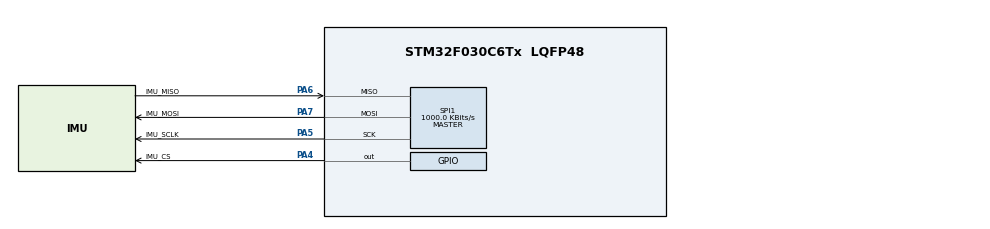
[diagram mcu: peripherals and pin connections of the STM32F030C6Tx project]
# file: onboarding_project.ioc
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Mcu.Family=STM32F0
Mcu.Name=STM32F030C6Tx
Mcu.Package=LQFP48
PA4.GPIO_Label=IMU_CS
PA4.PinState=GPIO_PIN_SET
PA4.Signal=GPIO_Output
PA5.GPIO_Label=IMU_SCLK
PA5.Mode=Full_Duplex_Master
PA5.Signal=SPI1_SCK
PA6.GPIO_Label=IMU_MISO
PA6.Mode=Full_Duplex_Master
PA6.Signal=SPI1_MISO
PA7.GPIO_Label=IMU_MOSI
PA7.Mode=Full_Duplex_Master
PA7.Signal=SPI1_MOSI
ProjectManager.HeapSize=0x200
ProjectManager.StackSize=0x400
ProjectManager.TargetToolchain=STM32CubeIDE
SPI1.BaudRatePrescaler=SPI_BAUDRATEPRESCALER_8
SPI1.CLKPhase=SPI_PHASE_2EDGE
SPI1.CLKPolarity=SPI_POLARITY_HIGH
SPI1.CalculateBaudRate=1000.0 KBits/s
SPI1.DataSize=SPI_DATASIZE_8BIT
SPI1.Direction=SPI_DIRECTION_2LINES
SPI1.Mode=SPI_MODE_MASTER
SPI1.VirtualType=VM_MASTER
board=custom

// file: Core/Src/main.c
/* USER CODE BEGIN Header */
/**
  ******************************************************************************
  * @file           : main.c
  * @brief          : Main program body
  ******************************************************************************
  * @attention
  *
  * Copyright (c) 2026 STMicroelectronics.
  * All rights reserved.
  *
  * This software is licensed under terms that can be found in the LICENSE file
  * in the root directory of this software component.
  * If no LICENSE file comes with this software, it is provided AS-IS.
  *
  ******************************************************************************
  */
/* USER CODE END Header */
#include "main.h"

/* USER CODE BEGIN PTD */

typedef struct {
	float accel_x;
	float accel_y;
	float accel_z;

	float gyro_x;
	float gyro_y;
	float gyro_z;
} IMU_Data;

/* USER CODE END PTD */

/* USER CODE BEGIN PD */

#define WHO_AM_I_REG 0x0F
#define WHO_AM_I_VAL 0x6B

//config register addresses
#define CTRL1_XL_REG 0x10
#define CTRL2_G_REG 0x11
#define CTRL3_C_REG 0x12

//sensor output registers addresses
#define OUTX_L_G_REG 0x22
//#define OUTX_L_A_REG 0x28

//config values
#define CTRL1_CONFIG 0x68
#define GYRO_CONFIG 0x64
#define CTRL3_CONFIG 0x44

#define SAMPLE_FREQ 200

/* USER CODE END PD */

SPI_HandleTypeDef hspi1;

/* USER CODE BEGIN PV */
volatile uint8_t who_am_i;
IMU_Data reading;
/* USER CODE END PV */

void SystemClock_Config(void);
static void MX_GPIO_Init(void);
static void MX_SPI1_Init(void);
/* USER CODE BEGIN PFP */

uint8_t IMU_ReadRegister(uint8_t reg);
void IMU_WriteRegister(uint8_t reg, uint8_t value);

void IMU_Init(void);
void IMU_ReadData(IMU_Data *reading);
void IMU_ReadRegisters(uint8_t reg, uint8_t *data, uint16_t length);

/* USER CODE END PFP */

/* USER CODE BEGIN 0 */

//read means set bit 7 to 1
uint8_t IMU_ReadRegister(uint8_t reg) {
    uint8_t tx[2]; //stores number between 0 to 255, int8_t stores -128 to 127
    uint8_t rx[2];

    // Set the read bit (bit 7)
    tx[0] = reg | 0x80; //convert each hexadecimal digit to 4 digit binary
    //we are storing a 8 bit numerical value

    tx[1] = 0x00;

    // Select IMU
    HAL_GPIO_WritePin(IMU_CS_GPIO_Port,
                      IMU_CS_Pin,
                      GPIO_PIN_RESET);

    // Send and receive 2 bytes
    HAL_SPI_TransmitReceive(&hspi1,
                            tx,
                            rx,
                            2,
                            HAL_MAX_DELAY); //tx[0] is the register to read, tx[1] is the value to write when used in write context
    //reading tx[0] to get the register value

    // Deselect IMU
    HAL_GPIO_WritePin(IMU_CS_GPIO_Port,
                      IMU_CS_Pin,
                      GPIO_PIN_SET);

    return rx[1];
}

//@param reg - register to write to
//@param value - value to write
void IMU_WriteRegister(uint8_t reg, uint8_t value) {
    uint8_t tx[2];

    // Clear bit 7 for a write
    tx[0] = reg & 0x7F;

    // Value we want to write
    tx[1] = value;

    // Select IMU
    HAL_GPIO_WritePin(IMU_CS_GPIO_Port,
                      IMU_CS_Pin,
                      GPIO_PIN_RESET); //reset = 0

    // Send register address + value
    HAL_SPI_Transmit(&hspi1,
                     tx,
                     2,
                     HAL_MAX_DELAY);

    // Deselect IMU
    HAL_GPIO_WritePin(IMU_CS_GPIO_Port,
                      IMU_CS_Pin,
                      GPIO_PIN_SET); //set = 1
}

void IMU_Init(void) {
	//enable BDU first
	IMU_WriteRegister(CTRL3_C_REG, CTRL3_CONFIG);
	IMU_WriteRegister(CTRL2_G_REG, GYRO_CONFIG);
	IMU_WriteRegister(CTRL1_XL_REG, CTRL1_CONFIG);
}

void IMU_ReadRegisters(uint8_t reg, uint8_t *data, uint16_t length) {
	uint8_t read_command = reg | 0x80;

	HAL_GPIO_WritePin (
		IMU_CS_GPIO_Port,
		IMU_CS_Pin,
		GPIO_PIN_RESET
	);

	HAL_SPI_Transmit(
		&hspi1,
		&read_command,
		1,
		HAL_MAX_DELAY
	);

	HAL_SPI_Receive (
		&hspi1,
		data,
		length,
		HAL_MAX_DELAY
	);

	HAL_GPIO_WritePin (
		IMU_CS_GPIO_Port,
		IMU_CS_Pin,
		GPIO_PIN_SET
	);
}

void IMU_ReadData(IMU_Data *reading) {
	uint8_t raw[12];
	IMU_ReadRegisters(OUTX_L_G_REG, raw, 12);

	int16_t gx = (int16_t)((uint16_t)raw[1] << 8 | raw[0]);
	int16_t gy = (int16_t)((uint16_t)raw[3] << 8 | raw[2]);
	int16_t gz = (int16_t)((uint16_t)raw[5] << 8 | raw[4]);

	int16_t ax = (int16_t)(((uint16_t)raw[7] << 8) | raw[6]);
	int16_t ay = (int16_t)(((uint16_t)raw[9] << 8) | raw[8]);
	int16_t az = (int16_t)(((uint16_t)raw[11] << 8) | raw[10]);

	//equivalent to (*reading).accel_x
	reading->accel_x = ax * 0.0011964f;
	reading->accel_y = ay * 0.0011964f;
	reading->accel_z = az * 0.0011964f;

	reading->gyro_x = gx * 0.0175f;
	reading->gyro_y = gy * 0.0175f;
	reading->gyro_z = gz * 0.0175f;
}

/* USER CODE END 0 */

int main(void)
{

  /* MCU Configuration--------------------------------------------------------*/

  /* Reset of all peripherals, Initializes the Flash interface and the Systick. */
  HAL_Init();

  /* Configure the system clock */
  SystemClock_Config();

  /* Initialize all configured peripherals */
  MX_GPIO_Init();
  MX_SPI1_Init();
  /* USER CODE BEGIN 2 */

  who_am_i = IMU_ReadRegister(WHO_AM_I_REG);
  //program must be suspended before i can step over

  /* USER CODE END 2 */

  /* Infinite loop */
  /* USER CODE BEGIN WHILE */
  IMU_Init();
  HAL_Delay(50);

  uint32_t curr_tick = HAL_GetTick();
  uint32_t last_check = HAL_GetTick();
  uint32_t sampled_hertz =0;
  uint32_t sample_count = 0;

  /* USER CODE END 3 */
  while (1) {

	  while ((int32_t)(HAL_GetTick() - curr_tick) < 0) {
		  //waiting
		  //behaves like HAL_Delay
	  }
	  //check to make sure it is actually 200HZ
	  IMU_ReadData(&reading);
	  sample_count++;
	  curr_tick += 1000 / SAMPLE_FREQ;

	  if(HAL_GetTick() - last_check >= 1000) {
		  //checking sampled_hertz each time for count per second
		  sampled_hertz = sample_count;
		  last_check += 1000;
		  sample_count = 0;
	  }

  }
}

void SystemClock_Config(void)
{
  RCC_OscInitTypeDef RCC_OscInitStruct = {0};
  RCC_ClkInitTypeDef RCC_ClkInitStruct = {0};

  /** Initializes the RCC Oscillators according to the specified parameters
  * in the RCC_OscInitTypeDef structure.
  */
  RCC_OscInitStruct.OscillatorType = RCC_OSCILLATORTYPE_HSI;
  RCC_OscInitStruct.HSIState = RCC_HSI_ON;
  RCC_OscInitStruct.HSICalibrationValue = RCC_HSICALIBRATION_DEFAULT;
  RCC_OscInitStruct.PLL.PLLState = RCC_PLL_NONE;
  if (HAL_RCC_OscConfig(&RCC_OscInitStruct) != HAL_OK)
  {
    Error_Handler();
  }

  /** Initializes the CPU, AHB and APB buses clocks
  */
  RCC_ClkInitStruct.ClockType = RCC_CLOCKTYPE_HCLK|RCC_CLOCKTYPE_SYSCLK
                              |RCC_CLOCKTYPE_PCLK1;
  RCC_ClkInitStruct.SYSCLKSource = RCC_SYSCLKSOURCE_HSI;
  RCC_ClkInitStruct.AHBCLKDivider = RCC_SYSCLK_DIV1;
  RCC_ClkInitStruct.APB1CLKDivider = RCC_HCLK_DIV1;

  if (HAL_RCC_ClockConfig(&RCC_ClkInitStruct, FLASH_LATENCY_0) != HAL_OK)
  {
    Error_Handler();
  }
}

static void MX_SPI1_Init(void)
{

  /* SPI1 parameter configuration*/
  hspi1.Instance = SPI1;
  hspi1.Init.Mode = SPI_MODE_MASTER;
  hspi1.Init.Direction = SPI_DIRECTION_2LINES;
  hspi1.Init.DataSize = SPI_DATASIZE_8BIT;
  hspi1.Init.CLKPolarity = SPI_POLARITY_HIGH;
  hspi1.Init.CLKPhase = SPI_PHASE_2EDGE;
  hspi1.Init.NSS = SPI_NSS_SOFT;
  hspi1.Init.BaudRatePrescaler = SPI_BAUDRATEPRESCALER_8;
  hspi1.Init.FirstBit = SPI_FIRSTBIT_MSB;
  hspi1.Init.TIMode = SPI_TIMODE_DISABLE;
  hspi1.Init.CRCCalculation = SPI_CRCCALCULATION_DISABLE;
  hspi1.Init.CRCPolynomial = 7;
  hspi1.Init.CRCLength = SPI_CRC_LENGTH_DATASIZE;
  hspi1.Init.NSSPMode = SPI_NSS_PULSE_DISABLE;
  if (HAL_SPI_Init(&hspi1) != HAL_OK)
  {
    Error_Handler();
  }

}

static void MX_GPIO_Init(void)
{
  GPIO_InitTypeDef GPIO_InitStruct = {0};

  /* GPIO Ports Clock Enable */
  __HAL_RCC_GPIOA_CLK_ENABLE();

  /*Configure GPIO pin Output Level */
  HAL_GPIO_WritePin(IMU_CS_GPIO_Port, IMU_CS_Pin, GPIO_PIN_SET);

  /*Configure GPIO pin : IMU_CS_Pin */
  GPIO_InitStruct.Pin = IMU_CS_Pin;
  GPIO_InitStruct.Mode = GPIO_MODE_OUTPUT_PP;
  GPIO_InitStruct.Pull = GPIO_NOPULL;
  GPIO_InitStruct.Speed = GPIO_SPEED_FREQ_LOW;
  HAL_GPIO_Init(IMU_CS_GPIO_Port, &GPIO_InitStruct);

}

void Error_Handler(void)
{
  __disable_irq();
  while (1)
  {
  }
}
